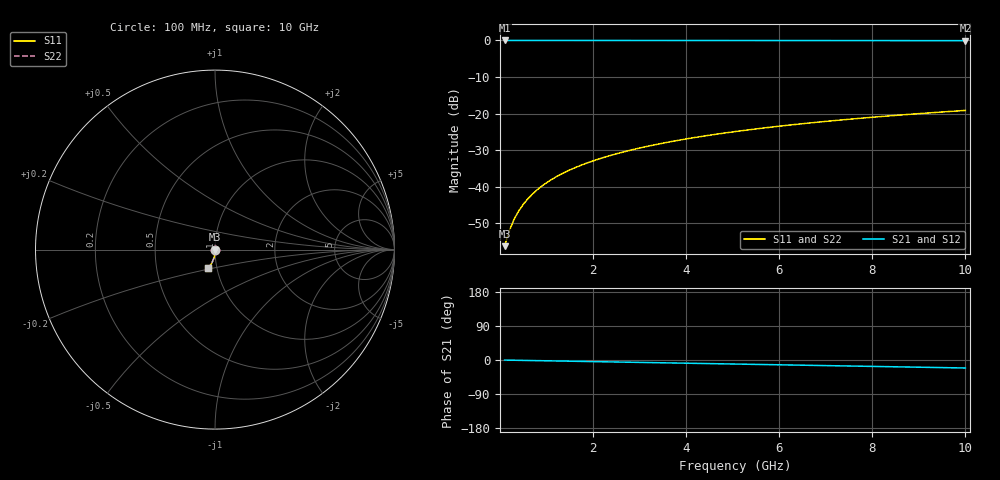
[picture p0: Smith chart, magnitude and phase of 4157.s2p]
# Hz S RI R 50.00
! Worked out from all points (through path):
!   100 points, 100 MHz to 10 GHz, reference 50 ohm
!   highest |S21| = -0.01 dB at 100 MHz (marker M1); lowest = -0.1 dB at 10 GHz (marker M2)
!   group delay of S21, straight-line fit = 5.86 ps
!   lowest |S11| = -56.3 dB at 100 MHz (marker M3), VSWR 1.00, Z = 50.1 - j0.113 ohm
!   |S11| at or under -10 dB: start of sweep to end of sweep
!   |S22| runs from -56.3 to -19.1 dB; largest |S21 - S12| = 0
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1e8  0.00104 -0.00113  0.9989 -0.00368  0.9989 -0.00368  0.00104 -0.00113
2e8  0.00104 -0.00226  0.9989 -0.00736  0.9989 -0.00736  0.00104 -0.00226
3e8  0.00102 -0.00339  0.9989 -0.011  0.9989 -0.011  0.00102 -0.00339
4e8  0.000992 -0.00452  0.9988 -0.0147  0.9988 -0.0147  0.000992 -0.00452
5e8  0.000956 -0.00565  0.9987 -0.0184  0.9987 -0.0184  0.000956 -0.00565
6e8  0.000911 -0.00678  0.9986 -0.0221  0.9986 -0.0221  0.000911 -0.00678
7e8  0.000858 -0.00791  0.9985 -0.0258  0.9985 -0.0258  0.000858 -0.00791
8e8  0.000796 -0.00904  0.9984 -0.0294  0.9984 -0.0294  0.000796 -0.00904
9e8  0.000726 -0.0102  0.9983 -0.0331  0.9983 -0.0331  0.000726 -0.0102
1.1e9  0.000559 -0.0124  0.998 -0.0405  0.998 -0.0405  0.000559 -0.0124
1.4e9  0.000247 -0.0158  0.9974 -0.0515  0.9974 -0.0515  0.000247 -0.0158
1.8e9  -0.000286 -0.0203  0.9965 -0.0662  0.9965 -0.0662  -0.000286 -0.0203
2.1e9  -0.000773 -0.0237  0.9956 -0.0772  0.9956 -0.0772  -0.000773 -0.0237
2.5e9  -0.00154 -0.0281  0.9942 -0.0918  0.9942 -0.0918  -0.00154 -0.0281
2.9e9  -0.00244 -0.0326  0.9926 -0.1065  0.9926 -0.1065  -0.00244 -0.0326
3.4e9  -0.00374 -0.0381  0.9902 -0.1247  0.9902 -0.1247  -0.00374 -0.0381
4.2e9  -0.00625 -0.0468  0.9857 -0.1538  0.9857 -0.1538  -0.00625 -0.0468
5.1e9  -0.00968 -0.0564  0.9795 -0.1863  0.9795 -0.1863  -0.00968 -0.0564
5.9e9  -0.0133 -0.0647  0.973 -0.215  0.973 -0.215  -0.0133 -0.0647
6.7e9  -0.0173 -0.0729  0.9656 -0.2434  0.9656 -0.2434  -0.0173 -0.0729
8.4e9  -0.0275 -0.0892  0.947 -0.3028  0.947 -0.3028  -0.0275 -0.0892
1e10  -0.0388 -0.1033  0.9258 -0.3574  0.9258 -0.3574  -0.0388 -0.1033
